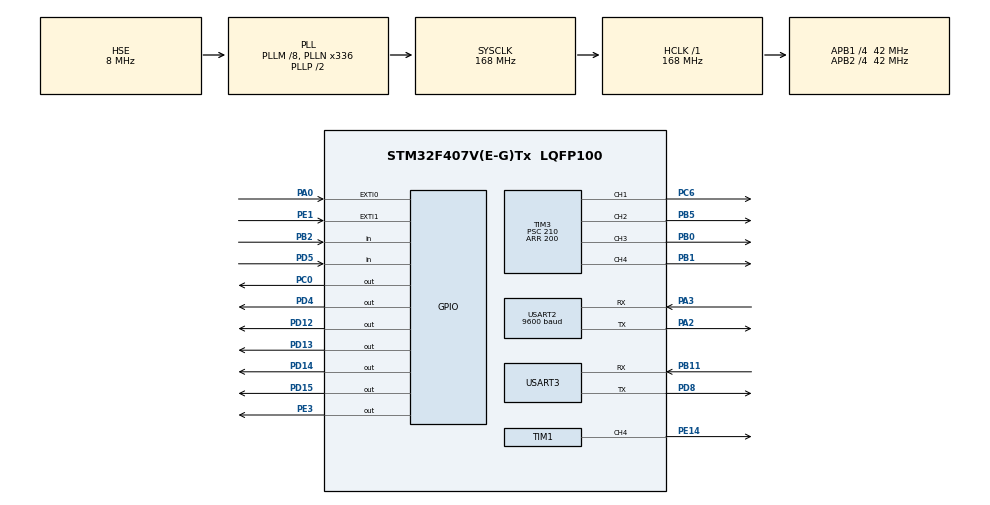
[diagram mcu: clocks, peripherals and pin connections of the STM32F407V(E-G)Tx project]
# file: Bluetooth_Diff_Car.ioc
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Mcu.Family=STM32F4
Mcu.Name=STM32F407V(E-G)Tx
Mcu.Package=LQFP100
NVIC.PriorityGroup=NVIC_PRIORITYGROUP_0
NVIC.USART2_IRQn=true\:0\:0\:false\:true\:true\:1\:true
PA0-WKUP.GPIO_ModeDefaultEXTI=GPIO_MODE_IT_RISING
PA0-WKUP.GPIO_PuPd=GPIO_NOPULL
PA0-WKUP.Signal=GPXTI0
PA10.GPIO_Mode=GPIO_MODE_AF_PP
PA10.GPIO_PuPd=GPIO_NOPULL
PA10.GPIO_Speed=GPIO_SPEED_FREQ_VERY_HIGH
PA10.Signal=USB_OTG_FS_ID
PA11.GPIO_Mode=GPIO_MODE_AF_PP
PA11.GPIO_PuPd=GPIO_NOPULL
PA11.GPIO_Speed=GPIO_SPEED_FREQ_VERY_HIGH
PA11.Signal=USB_OTG_FS_DM
PA12.GPIO_Mode=GPIO_MODE_AF_PP
PA12.GPIO_PuPd=GPIO_NOPULL
PA12.GPIO_Speed=GPIO_SPEED_FREQ_VERY_HIGH
PA12.Signal=USB_OTG_FS_DP
PA13.Mode=Serial_Wire
PA13.Signal=SYS_JTMS-SWDIO
PA14.Mode=Serial_Wire
PA14.Signal=SYS_JTCK-SWCLK
PA2.Mode=Asynchronous
PA2.Signal=USART2_TX
PA3.Mode=Asynchronous
PA3.Signal=USART2_RX
PA4.GPIO_Mode=GPIO_MODE_AF_PP
PA4.GPIO_PuPd=GPIO_NOPULL
PA4.GPIO_Speed=GPIO_SPEED_FREQ_LOW
PA4.Signal=I2S3_WS
PA5.GPIO_Mode=GPIO_MODE_AF_PP
PA5.GPIO_PuPd=GPIO_NOPULL
PA5.GPIO_Speed=GPIO_SPEED_FREQ_VERY_HIGH
PA5.Signal=SPI1_SCK
PA6.GPIO_Mode=GPIO_MODE_AF_PP
PA6.GPIO_PuPd=GPIO_NOPULL
PA6.GPIO_Speed=GPIO_SPEED_FREQ_VERY_HIGH
PA6.Signal=SPI1_MISO
PA7.GPIO_Mode=GPIO_MODE_AF_PP
PA7.GPIO_PuPd=GPIO_NOPULL
PA7.GPIO_Speed=GPIO_SPEED_FREQ_VERY_HIGH
PA7.Signal=SPI1_MOSI
PA9.GPIO_Mode=GPIO_MODE_INPUT
PA9.GPIO_PuPd=GPIO_NOPULL
PA9.Signal=USB_OTG_FS_VBUS
PB0.Signal=S_TIM3_CH3
PB1.Signal=S_TIM3_CH4
PB10.GPIO_Mode=GPIO_MODE_AF_PP
PB10.GPIO_PuPd=GPIO_NOPULL
PB10.GPIO_Speed=GPIO_SPEED_FREQ_LOW
PB10.Signal=I2S2_CK
PB11.GPIO_Mode=GPIO_MODE_AF_PP
PB11.GPIO_PuPd=GPIO_PULLUP
PB11.GPIO_Speed=GPIO_SPEED_FREQ_VERY_HIGH
PB11.Mode=Asynchronous
PB11.Signal=USART3_RX
PB2.GPIO_Mode=GPIO_MODE_INPUT
PB2.GPIO_PuPd=GPIO_NOPULL
PB2.Signal=GPIO_Input
PB3.Signal=SYS_JTDO-SWO
PB5.Signal=S_TIM3_CH2
PB6.GPIO_Mode=GPIO_MODE_AF_OD
PB6.GPIO_PuPd=GPIO_NOPULL
PB6.GPIO_PuPdOD=GPIO_PULLUP
PB6.GPIO_Speed=GPIO_SPEED_FREQ_VERY_HIGH
PB6.Signal=I2C1_SCL
PB9.GPIO_Mode=GPIO_MODE_AF_OD
PB9.GPIO_PuPd=GPIO_NOPULL
PB9.GPIO_PuPdOD=GPIO_PULLUP
PB9.GPIO_Speed=GPIO_SPEED_FREQ_VERY_HIGH
PB9.Signal=I2C1_SDA
PC0.GPIO_ModeDefaultOutputPP=GPIO_MODE_OUTPUT_PP
PC0.GPIO_PuPd=GPIO_NOPULL
PC0.GPIO_Speed=GPIO_SPEED_FREQ_LOW
PC0.PinState=GPIO_PIN_RESET
PC0.Signal=GPIO_Output
PC10.GPIO_Mode=GPIO_MODE_AF_PP
PC10.GPIO_PuPd=GPIO_NOPULL
PC10.GPIO_Speed=GPIO_SPEED_FREQ_LOW
PC10.Signal=I2S3_CK
PC12.GPIO_Mode=GPIO_MODE_AF_PP
PC12.GPIO_PuPd=GPIO_NOPULL
PC12.GPIO_Speed=GPIO_SPEED_FREQ_LOW
PC12.Signal=I2S3_SD
PC14-OSC32_IN.Signal=RCC_OSC32_IN
PC15-OSC32_OUT.Signal=RCC_OSC32_OUT
PC3.GPIO_Mode=GPIO_MODE_AF_PP
PC3.GPIO_PuPd=GPIO_NOPULL
PC3.GPIO_Speed=GPIO_SPEED_FREQ_LOW
PC3.Signal=I2S2_SD
PC6.Signal=S_TIM3_CH1
PC7.GPIO_Mode=GPIO_MODE_AF_PP
PC7.GPIO_PuPd=GPIO_NOPULL
PC7.GPIO_Speed=GPIO_SPEED_FREQ_LOW
PC7.Signal=I2S3_MCK
PD12.GPIO_ModeDefaultOutputPP=GPIO_MODE_OUTPUT_PP
PD12.GPIO_PuPd=GPIO_NOPULL
PD12.GPIO_Speed=GPIO_SPEED_FREQ_LOW
PD12.PinState=GPIO_PIN_RESET
PD12.Signal=GPIO_Output
PD13.GPIO_ModeDefaultOutputPP=GPIO_MODE_OUTPUT_PP
PD13.GPIO_PuPd=GPIO_NOPULL
PD13.GPIO_Speed=GPIO_SPEED_FREQ_LOW
PD13.PinState=GPIO_PIN_RESET
PD13.Signal=GPIO_Output
PD14.GPIO_ModeDefaultOutputPP=GPIO_MODE_OUTPUT_PP
PD14.GPIO_PuPd=GPIO_NOPULL
PD14.GPIO_Speed=GPIO_SPEED_FREQ_LOW
PD14.PinState=GPIO_PIN_RESET
PD14.Signal=GPIO_Output
PD15.GPIO_ModeDefaultOutputPP=GPIO_MODE_OUTPUT_PP
PD15.GPIO_PuPd=GPIO_NOPULL
PD15.GPIO_Speed=GPIO_SPEED_FREQ_LOW
PD15.PinState=GPIO_PIN_RESET
PD15.Signal=GPIO_Output
PD4.GPIO_ModeDefaultOutputPP=GPIO_MODE_OUTPUT_PP
PD4.GPIO_PuPd=GPIO_NOPULL
PD4.GPIO_Speed=GPIO_SPEED_FREQ_LOW
PD4.PinState=GPIO_PIN_RESET
PD4.Signal=GPIO_Output
PD5.GPIO_Mode=GPIO_MODE_INPUT
PD5.GPIO_PuPd=GPIO_NOPULL
PD5.Signal=GPIO_Input
PD8.Mode=Asynchronous
PD8.Signal=USART3_TX
PE1.GPIO_ModeDefaultEXTI=GPIO_MODE_IT_RISING
PE1.GPIO_PuPd=GPIO_NOPULL
PE1.Signal=GPXTI1
PE14.GPIO_ModeDefaultPP=GPIO_MODE_AF_PP
PE14.GPIO_PuPd=GPIO_NOPULL
PE14.GPIO_Speed=GPIO_SPEED_FREQ_LOW
PE14.Signal=S_TIM1_CH4
PE3.GPIO_ModeDefaultOutputPP=GPIO_MODE_OUTPUT_PP
PE3.GPIO_PuPd=GPIO_NOPULL
PE3.GPIO_Speed=GPIO_SPEED_FREQ_LOW
PE3.PinState=GPIO_PIN_RESET
PE3.Signal=GPIO_Output
PH0-OSC_IN.Mode=HSE-External-Oscillator
PH0-OSC_IN.Signal=RCC_OSC_IN
PH1-OSC_OUT.Mode=HSE-External-Oscillator
PH1-OSC_OUT.Signal=RCC_OSC_OUT
ProjectManager.HeapSize=0x200
ProjectManager.StackSize=0x400
ProjectManager.TargetToolchain=MDK-ARM V5
RCC.48MHZClocksFreq_Value=48000000
RCC.AHBFreq_Value=168000000
RCC.APB1CLKDivider=RCC_HCLK_DIV4
RCC.APB1Freq_Value=42000000
RCC.APB1TimFreq_Value=84000000
RCC.APB2CLKDivider=RCC_HCLK_DIV4
RCC.APB2Freq_Value=42000000
RCC.APB2TimFreq_Value=84000000
RCC.CortexFreq_Value=168000000
RCC.HCLKFreq_Value=168000000
RCC.HSE_VALUE=8000000
RCC.HSI_VALUE=16000000
RCC.LSE_VALUE=32768
RCC.PLLM=8
RCC.PLLN=336
RCC.PLLQ=7
RCC.PLLSourceVirtual=RCC_PLLSOURCE_HSE
RCC.SYSCLKFreq_VALUE=168000000
RCC.SYSCLKSource=RCC_SYSCLKSOURCE_PLLCLK
RCC.VCOOutputFreq_Value=336000000
SH.S_TIM1_CH4.0=TIM1_CH4,PWM Generation4 CH4
SH.S_TIM3_CH1.0=TIM3_CH1,PWM Generation1 CH1
SH.S_TIM3_CH2.0=TIM3_CH2,PWM Generation2 CH2
SH.S_TIM3_CH3.0=TIM3_CH3,PWM Generation3 CH3
SH.S_TIM3_CH4.0=TIM3_CH4,PWM Generation4 CH4
TIM1.Channel-PWM\ Generation4\ CH4=TIM_CHANNEL_4
TIM1.Period=2000
TIM1.Prescaler=840
TIM3.Channel-PWM\ Generation1\ CH1=TIM_CHANNEL_1
TIM3.Channel-PWM\ Generation2\ CH2=TIM_CHANNEL_2
TIM3.Channel-PWM\ Generation3\ CH3=TIM_CHANNEL_3
TIM3.Channel-PWM\ Generation4\ CH4=TIM_CHANNEL_4
TIM3.Period=200
TIM3.Prescaler=210
USART2.BaudRate=9600
USART2.VirtualMode=VM_ASYNC
USART3.VirtualMode=VM_ASYNC
VP_TIM1_VS_ClockSourceINT.Mode=Internal
VP_TIM3_VS_ClockSourceINT.Mode=Internal
board=STM32F4DISCOVERY

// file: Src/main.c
/**
  ******************************************************************************
  * @file           : main.c
  * @brief          : Main program body
  ******************************************************************************
  ** This notice applies to any and all portions of this file
  * that are not between comment pairs USER CODE BEGIN and
  * USER CODE END. Other portions of this file, whether
  * inserted by the user or by software development tools
  * are owned by their respective copyright owners.
  *
  * COPYRIGHT(c) 2018 STMicroelectronics
  *
  * Redistribution and use in source and binary forms, with or without modification,
  * are permitted provided that the following conditions are met:
  *   1. Redistributions of source code must retain the above copyright notice,
  *      this list of conditions and the following disclaimer.
  *   2. Redistributions in binary form must reproduce the above copyright notice,
  *      this list of conditions and the following disclaimer in the documentation
  *      and/or other materials provided with the distribution.
  *   3. Neither the name of STMicroelectronics nor the names of its contributors
  *      may be used to endorse or promote products derived from this software
  *      without specific prior written permission.
  *
  * THIS SOFTWARE IS PROVIDED BY THE COPYRIGHT HOLDERS AND CONTRIBUTORS "AS IS"
  * AND ANY EXPRESS OR IMPLIED WARRANTIES, INCLUDING, BUT NOT LIMITED TO, THE
  * IMPLIED WARRANTIES OF MERCHANTABILITY AND FITNESS FOR A PARTICULAR PURPOSE ARE
  * DISCLAIMED. IN NO EVENT SHALL THE COPYRIGHT HOLDER OR CONTRIBUTORS BE LIABLE
  * FOR ANY DIRECT, INDIRECT, INCIDENTAL, SPECIAL, EXEMPLARY, OR CONSEQUENTIAL
  * DAMAGES (INCLUDING, BUT NOT LIMITED TO, PROCUREMENT OF SUBSTITUTE GOODS OR
  * SERVICES; LOSS OF USE, DATA, OR PROFITS; OR BUSINESS INTERRUPTION) HOWEVER
  * CAUSED AND ON ANY THEORY OF LIABILITY, WHETHER IN CONTRACT, STRICT LIABILITY,
  * OR TORT (INCLUDING NEGLIGENCE OR OTHERWISE) ARISING IN ANY WAY OUT OF THE USE
  * OF THIS SOFTWARE, EVEN IF ADVISED OF THE POSSIBILITY OF SUCH DAMAGE.
  *
  ******************************************************************************
  */
#include "main.h"
#include "stm32f4xx_hal.h"

TIM_HandleTypeDef htim1;
TIM_HandleTypeDef htim3;

UART_HandleTypeDef huart2;
UART_HandleTypeDef huart3;

/* USER CODE BEGIN PV */
/* Private variables ---------------------------------------------------------*/
unsigned int i=0;
uint16_t duty=55,fade=4; //255,145,55

	int pwm=0;
	char buffer[100];
	int len;

	char Rx_indx, Rx_data[2], Rx_Buffer[100], Transfer_cplt;
	int Max_Speed=180;
	int Max_Speed_RL=180;

	int digit;

/* USER CODE END PV */

void SystemClock_Config(void);
static void MX_GPIO_Init(void);
static void MX_TIM1_Init(void);
static void MX_TIM3_Init(void);
static void MX_USART2_UART_Init(void);
static void MX_USART3_UART_Init(void);
static void MX_NVIC_Init(void);
void HAL_TIM_MspPostInit(TIM_HandleTypeDef *htim);

/* USER CODE BEGIN PFP */
/* Private function prototypes -----------------------------------------------*/

//Interrupt callback routine
void HAL_UART_RxCpltCallback(UART_HandleTypeDef *huart)
{
    uint8_t i;
    if (huart->Instance == USART2)  //current UART
        {
        if (Rx_indx==0) {for (i=0;i<100;i++) Rx_Buffer[i]=0;}   //clear Rx_Buffer before receiving new data

        if (Rx_data[0]!=13) //if received data different from ascii 13 (enter)
            {
            Rx_Buffer[Rx_indx++]=Rx_data[0];    //add data to Rx_Buffer
            }
        else            //if received data = 13
            {
            Rx_indx=0;
            Transfer_cplt=1;//transfer complete, data is ready to read
            }

        HAL_UART_Receive_IT(&huart2, Rx_data, 1);   //activate UART receive interrupt every time
        }
}

#ifdef __GNUC__
 /* With GCC/RAISONANCE, small printf (option LD Linker->Libraries->Small printf
     set to 'Yes') calls __io_putchar() */
  #define PUTCHAR_PROTOTYPE int __io_putchar(int ch)
#else
  #define PUTCHAR_PROTOTYPE int fputc(int ch, FILE *f)
#endif /* __GNUC__ */

/**
  * @brief  Retargets the C library printf function to the USART.
  * @param  None
  * @retval None
  */
PUTCHAR_PROTOTYPE
{
    /* Place your implementation of fputc here */
    /* e.g. write a character to the USART */
    HAL_UART_Transmit(&huart2, (uint8_t *)&ch, 1, 100);

    return ch;
}

/* USER CODE END PFP */

int main(void)
{

  /* MCU Configuration----------------------------------------------------------*/

  /* Reset of all peripherals, Initializes the Flash interface and the Systick. */
  HAL_Init();

  /* Configure the system clock */
  SystemClock_Config();

  /* Initialize all configured peripherals */
  MX_GPIO_Init();
  MX_TIM1_Init();
  MX_TIM3_Init();
  MX_USART2_UART_Init();
  MX_USART3_UART_Init();

  /* Initialize interrupts */
  MX_NVIC_Init();
  /* USER CODE BEGIN 2 */
	HAL_TIM_PWM_Start(&htim1,TIM_CHANNEL_4);

	HAL_TIM_PWM_Start(&htim3,TIM_CHANNEL_1);
	HAL_TIM_PWM_Start(&htim3,TIM_CHANNEL_2);
	HAL_TIM_PWM_Start(&htim3,TIM_CHANNEL_3);
	HAL_TIM_PWM_Start(&htim3,TIM_CHANNEL_4);

	HAL_UART_Receive_IT(&huart2, Rx_data, 1);

  /* USER CODE END 2 */

  /* Infinite loop */
  while (1)
  {

  /* USER CODE BEGIN 3 */
		//HAL_GPIO_TogglePin(LD6_GPIO_Port,LD6_Pin);
			HAL_Delay(60);

			if(Transfer_cplt){
			buffer[0]='O';
			buffer[1]='K';
			HAL_UART_Transmit(&huart2,buffer,2,1000);

			//GRIPPER 0 Derece
			if(Rx_Buffer[0]=='G' && Rx_Buffer[1]=='R' && Rx_Buffer[2]=='P' && Rx_Buffer[3]=='0')
			{
				duty=145;
				__HAL_TIM_SET_COMPARE(&htim1,TIM_CHANNEL_4,duty);
			}

			//GRIPPER +90 Derece
			if(Rx_Buffer[0]=='G' && Rx_Buffer[1]=='R' && Rx_Buffer[2]=='P' && Rx_Buffer[3]=='+' && Rx_Buffer[4]=='9' && Rx_Buffer[5]=='0')
			{
				duty=255;
				__HAL_TIM_SET_COMPARE(&htim1,TIM_CHANNEL_4,duty);
			}

			//GRIPPER -90 Derece
			if(Rx_Buffer[0]=='G' && Rx_Buffer[1]=='R' && Rx_Buffer[2]=='P' && Rx_Buffer[3]=='-' && Rx_Buffer[4]=='9' && Rx_Buffer[5]=='0')
			{
				duty=55;
				__HAL_TIM_SET_COMPARE(&htim1,TIM_CHANNEL_4,duty);
			}

			//GRIPPER Her Derece
			if(Rx_Buffer[0]=='G' && Rx_Buffer[1]=='R' && Rx_Buffer[2]=='P' && Rx_Buffer[3]=='A' && Rx_Buffer[4]=='N' && Rx_Buffer[5]=='Y')
			{
				duty=0;
				if (Rx_Buffer[6] >= '0' && Rx_Buffer[6] <= '9'){
					digit = Rx_Buffer[6] - '0';
					duty=duty+(digit*100);
				}
				if (Rx_Buffer[7] >= '0' && Rx_Buffer[7] <= '9'){
					digit = Rx_Buffer[7] - '0';
					duty=duty+(digit*10);
				}
				if (Rx_Buffer[8] >= '0' && Rx_Buffer[8] <= '9'){
					digit = Rx_Buffer[8] - '0';
					duty=duty+(digit*1);
				}
				__HAL_TIM_SET_COMPARE(&htim1,TIM_CHANNEL_4,duty);
			}

			//LEFT
			if(Rx_Buffer[0]=='L' && Rx_Buffer[1]=='E' && Rx_Buffer[2]=='F' && Rx_Buffer[3]=='T')
			{
				for(pwm=0;pwm<Max_Speed;pwm++){
					__HAL_TIM_SET_COMPARE(&htim3,TIM_CHANNEL_1,0);
					__HAL_TIM_SET_COMPARE(&htim3,TIM_CHANNEL_2,pwm);
					HAL_Delay(1);
				}
			}

			//RIGHT
			if(Rx_Buffer[0]=='R' && Rx_Buffer[1]=='I' && Rx_Buffer[2]=='G' && Rx_Buffer[3]=='H' && Rx_Buffer[4]=='T')
			{
				for(pwm=0;pwm<Max_Speed;pwm++){
					__HAL_TIM_SET_COMPARE(&htim3,TIM_CHANNEL_3,0);
					__HAL_TIM_SET_COMPARE(&htim3,TIM_CHANNEL_4,pwm);
					HAL_Delay(1);
				}
			}

			//FORWARD
			if(Rx_Buffer[0]=='F' && Rx_Buffer[1]=='R' && Rx_Buffer[2]=='W')
			{
				for(pwm=0;pwm<Max_Speed;pwm++){
					__HAL_TIM_SET_COMPARE(&htim3,TIM_CHANNEL_1,0);
					__HAL_TIM_SET_COMPARE(&htim3,TIM_CHANNEL_2,pwm);
					__HAL_TIM_SET_COMPARE(&htim3,TIM_CHANNEL_3,0);
					__HAL_TIM_SET_COMPARE(&htim3,TIM_CHANNEL_4,pwm);
					HAL_Delay(1);
				}
			}

			//BACK
			if(Rx_Buffer[0]=='B' && Rx_Buffer[1]=='A' && Rx_Buffer[2]=='C' && Rx_Buffer[3]=='K')
			{
				for(pwm=0;pwm<Max_Speed;pwm++){
					__HAL_TIM_SET_COMPARE(&htim3,TIM_CHANNEL_1,pwm);
					__HAL_TIM_SET_COMPARE(&htim3,TIM_CHANNEL_2,0);
					__HAL_TIM_SET_COMPARE(&htim3,TIM_CHANNEL_3,pwm);
					__HAL_TIM_SET_COMPARE(&htim3,TIM_CHANNEL_4,0);
					HAL_Delay(1);
				}
			}

			//RETURN LEFT
			if(Rx_Buffer[0]=='R' && Rx_Buffer[1]=='T' && Rx_Buffer[2]=='L')
			{
				for(pwm=0;pwm<Max_Speed_RL;pwm++){
					__HAL_TIM_SET_COMPARE(&htim3,TIM_CHANNEL_1,0);
					__HAL_TIM_SET_COMPARE(&htim3,TIM_CHANNEL_2,pwm);
					__HAL_TIM_SET_COMPARE(&htim3,TIM_CHANNEL_3,pwm);
					__HAL_TIM_SET_COMPARE(&htim3,TIM_CHANNEL_4,0);
					HAL_Delay(1);
				}
			}

			//RETURN RIGHT
			if(Rx_Buffer[0]=='R' && Rx_Buffer[1]=='T' && Rx_Buffer[2]=='R')
			{
				for(pwm=0;pwm<Max_Speed_RL;pwm++){
					__HAL_TIM_SET_COMPARE(&htim3,TIM_CHANNEL_1,pwm);
					__HAL_TIM_SET_COMPARE(&htim3,TIM_CHANNEL_2,0);
					__HAL_TIM_SET_COMPARE(&htim3,TIM_CHANNEL_3,0);
					__HAL_TIM_SET_COMPARE(&htim3,TIM_CHANNEL_4,pwm);
					HAL_Delay(1);
				}
			}

			//STOP
			if(Rx_Buffer[0]=='S' && Rx_Buffer[1]=='T' && Rx_Buffer[2]=='O' && Rx_Buffer[3]=='P')
			{
					__HAL_TIM_SET_COMPARE(&htim3,TIM_CHANNEL_1,0);
					__HAL_TIM_SET_COMPARE(&htim3,TIM_CHANNEL_2,0);
					__HAL_TIM_SET_COMPARE(&htim3,TIM_CHANNEL_3,0);
					__HAL_TIM_SET_COMPARE(&htim3,TIM_CHANNEL_4,0);
			}
			Transfer_cplt=0;
		}

  }
  /* USER CODE END 3 */

}

void SystemClock_Config(void)
{

  RCC_OscInitTypeDef RCC_OscInitStruct;
  RCC_ClkInitTypeDef RCC_ClkInitStruct;

    /**Configure the main internal regulator output voltage
    */
  __HAL_RCC_PWR_CLK_ENABLE();

  __HAL_PWR_VOLTAGESCALING_CONFIG(PWR_REGULATOR_VOLTAGE_SCALE1);

    /**Initializes the CPU, AHB and APB busses clocks
    */
  RCC_OscInitStruct.OscillatorType = RCC_OSCILLATORTYPE_HSE;
  RCC_OscInitStruct.HSEState = RCC_HSE_ON;
  RCC_OscInitStruct.PLL.PLLState = RCC_PLL_ON;
  RCC_OscInitStruct.PLL.PLLSource = RCC_PLLSOURCE_HSE;
  RCC_OscInitStruct.PLL.PLLM = 8;
  RCC_OscInitStruct.PLL.PLLN = 336;
  RCC_OscInitStruct.PLL.PLLP = RCC_PLLP_DIV2;
  RCC_OscInitStruct.PLL.PLLQ = 7;
  if (HAL_RCC_OscConfig(&RCC_OscInitStruct) != HAL_OK)
  {
    _Error_Handler(__FILE__, __LINE__);
  }

    /**Initializes the CPU, AHB and APB busses clocks
    */
  RCC_ClkInitStruct.ClockType = RCC_CLOCKTYPE_HCLK|RCC_CLOCKTYPE_SYSCLK
                              |RCC_CLOCKTYPE_PCLK1|RCC_CLOCKTYPE_PCLK2;
  RCC_ClkInitStruct.SYSCLKSource = RCC_SYSCLKSOURCE_PLLCLK;
  RCC_ClkInitStruct.AHBCLKDivider = RCC_SYSCLK_DIV1;
  RCC_ClkInitStruct.APB1CLKDivider = RCC_HCLK_DIV4;
  RCC_ClkInitStruct.APB2CLKDivider = RCC_HCLK_DIV4;

  if (HAL_RCC_ClockConfig(&RCC_ClkInitStruct, FLASH_LATENCY_5) != HAL_OK)
  {
    _Error_Handler(__FILE__, __LINE__);
  }

    /**Configure the Systick interrupt time
    */
  HAL_SYSTICK_Config(HAL_RCC_GetHCLKFreq()/1000);

    /**Configure the Systick
    */
  HAL_SYSTICK_CLKSourceConfig(SYSTICK_CLKSOURCE_HCLK);

  /* SysTick_IRQn interrupt configuration */
  HAL_NVIC_SetPriority(SysTick_IRQn, 0, 0);
}

/**
  * @brief NVIC Configuration.
  * @retval None
  */
static void MX_NVIC_Init(void)
{
  /* USART2_IRQn interrupt configuration */
  HAL_NVIC_SetPriority(USART2_IRQn, 0, 0);
  HAL_NVIC_EnableIRQ(USART2_IRQn);
}

/* TIM1 init function */
static void MX_TIM1_Init(void)
{

  TIM_ClockConfigTypeDef sClockSourceConfig;
  TIM_MasterConfigTypeDef sMasterConfig;
  TIM_OC_InitTypeDef sConfigOC;
  TIM_BreakDeadTimeConfigTypeDef sBreakDeadTimeConfig;

  htim1.Instance = TIM1;
  htim1.Init.Prescaler = 840;
  htim1.Init.CounterMode = TIM_COUNTERMODE_UP;
  htim1.Init.Period = 2000;
  htim1.Init.ClockDivision = TIM_CLOCKDIVISION_DIV1;
  htim1.Init.RepetitionCounter = 0;
  if (HAL_TIM_Base_Init(&htim1) != HAL_OK)
  {
    _Error_Handler(__FILE__, __LINE__);
  }

  sClockSourceConfig.ClockSource = TIM_CLOCKSOURCE_INTERNAL;
  if (HAL_TIM_ConfigClockSource(&htim1, &sClockSourceConfig) != HAL_OK)
  {
    _Error_Handler(__FILE__, __LINE__);
  }

  if (HAL_TIM_PWM_Init(&htim1) != HAL_OK)
  {
    _Error_Handler(__FILE__, __LINE__);
  }

  sMasterConfig.MasterOutputTrigger = TIM_TRGO_RESET;
  sMasterConfig.MasterSlaveMode = TIM_MASTERSLAVEMODE_DISABLE;
  if (HAL_TIMEx_MasterConfigSynchronization(&htim1, &sMasterConfig) != HAL_OK)
  {
    _Error_Handler(__FILE__, __LINE__);
  }

  sConfigOC.OCMode = TIM_OCMODE_PWM1;
  sConfigOC.Pulse = 0;
  sConfigOC.OCPolarity = TIM_OCPOLARITY_HIGH;
  sConfigOC.OCFastMode = TIM_OCFAST_DISABLE;
  sConfigOC.OCIdleState = TIM_OCIDLESTATE_RESET;
  sConfigOC.OCNIdleState = TIM_OCNIDLESTATE_RESET;
  if (HAL_TIM_PWM_ConfigChannel(&htim1, &sConfigOC, TIM_CHANNEL_4) != HAL_OK)
  {
    _Error_Handler(__FILE__, __LINE__);
  }

  sBreakDeadTimeConfig.OffStateRunMode = TIM_OSSR_DISABLE;
  sBreakDeadTimeConfig.OffStateIDLEMode = TIM_OSSI_DISABLE;
  sBreakDeadTimeConfig.LockLevel = TIM_LOCKLEVEL_OFF;
  sBreakDeadTimeConfig.DeadTime = 0;
  sBreakDeadTimeConfig.BreakState = TIM_BREAK_DISABLE;
  sBreakDeadTimeConfig.BreakPolarity = TIM_BREAKPOLARITY_HIGH;
  sBreakDeadTimeConfig.AutomaticOutput = TIM_AUTOMATICOUTPUT_DISABLE;
  if (HAL_TIMEx_ConfigBreakDeadTime(&htim1, &sBreakDeadTimeConfig) != HAL_OK)
  {
    _Error_Handler(__FILE__, __LINE__);
  }

  HAL_TIM_MspPostInit(&htim1);

}

/* TIM3 init function */
static void MX_TIM3_Init(void)
{

  TIM_ClockConfigTypeDef sClockSourceConfig;
  TIM_MasterConfigTypeDef sMasterConfig;
  TIM_OC_InitTypeDef sConfigOC;

  htim3.Instance = TIM3;
  htim3.Init.Prescaler = 210;
  htim3.Init.CounterMode = TIM_COUNTERMODE_UP;
  htim3.Init.Period = 200;
  htim3.Init.ClockDivision = TIM_CLOCKDIVISION_DIV1;
  if (HAL_TIM_Base_Init(&htim3) != HAL_OK)
  {
    _Error_Handler(__FILE__, __LINE__);
  }

  sClockSourceConfig.ClockSource = TIM_CLOCKSOURCE_INTERNAL;
  if (HAL_TIM_ConfigClockSource(&htim3, &sClockSourceConfig) != HAL_OK)
  {
    _Error_Handler(__FILE__, __LINE__);
  }

  if (HAL_TIM_PWM_Init(&htim3) != HAL_OK)
  {
    _Error_Handler(__FILE__, __LINE__);
  }

  sMasterConfig.MasterOutputTrigger = TIM_TRGO_RESET;
  sMasterConfig.MasterSlaveMode = TIM_MASTERSLAVEMODE_DISABLE;
  if (HAL_TIMEx_MasterConfigSynchronization(&htim3, &sMasterConfig) != HAL_OK)
  {
    _Error_Handler(__FILE__, __LINE__);
  }

  sConfigOC.OCMode = TIM_OCMODE_PWM1;
  sConfigOC.Pulse = 0;
  sConfigOC.OCPolarity = TIM_OCPOLARITY_HIGH;
  sConfigOC.OCFastMode = TIM_OCFAST_DISABLE;
  if (HAL_TIM_PWM_ConfigChannel(&htim3, &sConfigOC, TIM_CHANNEL_1) != HAL_OK)
  {
    _Error_Handler(__FILE__, __LINE__);
  }

  if (HAL_TIM_PWM_ConfigChannel(&htim3, &sConfigOC, TIM_CHANNEL_2) != HAL_OK)
  {
    _Error_Handler(__FILE__, __LINE__);
  }

  if (HAL_TIM_PWM_ConfigChannel(&htim3, &sConfigOC, TIM_CHANNEL_3) != HAL_OK)
  {
    _Error_Handler(__FILE__, __LINE__);
  }

  if (HAL_TIM_PWM_ConfigChannel(&htim3, &sConfigOC, TIM_CHANNEL_4) != HAL_OK)
  {
    _Error_Handler(__FILE__, __LINE__);
  }

  HAL_TIM_MspPostInit(&htim3);

}

/* USART2 init function */
static void MX_USART2_UART_Init(void)
{

  huart2.Instance = USART2;
  huart2.Init.BaudRate = 9600;
  huart2.Init.WordLength = UART_WORDLENGTH_8B;
  huart2.Init.StopBits = UART_STOPBITS_1;
  huart2.Init.Parity = UART_PARITY_NONE;
  huart2.Init.Mode = UART_MODE_TX_RX;
  huart2.Init.HwFlowCtl = UART_HWCONTROL_NONE;
  huart2.Init.OverSampling = UART_OVERSAMPLING_16;
  if (HAL_UART_Init(&huart2) != HAL_OK)
  {
    _Error_Handler(__FILE__, __LINE__);
  }

}

/* USART3 init function */
static void MX_USART3_UART_Init(void)
{

  huart3.Instance = USART3;
  huart3.Init.BaudRate = 115200;
  huart3.Init.WordLength = UART_WORDLENGTH_8B;
  huart3.Init.StopBits = UART_STOPBITS_1;
  huart3.Init.Parity = UART_PARITY_NONE;
  huart3.Init.Mode = UART_MODE_TX_RX;
  huart3.Init.HwFlowCtl = UART_HWCONTROL_NONE;
  huart3.Init.OverSampling = UART_OVERSAMPLING_16;
  if (HAL_UART_Init(&huart3) != HAL_OK)
  {
    _Error_Handler(__FILE__, __LINE__);
  }

}

/** Configure pins as
        * Analog
        * Input
        * Output
        * EVENT_OUT
        * EXTI
     PC3   ------> I2S2_SD
     PA4   ------> I2S3_WS
     PA5   ------> SPI1_SCK
     PA6   ------> SPI1_MISO
     PA7   ------> SPI1_MOSI
     PB10   ------> I2S2_CK
     PC7   ------> I2S3_MCK
     PA9   ------> USB_OTG_FS_VBUS
     PA10   ------> USB_OTG_FS_ID
     PA11   ------> USB_OTG_FS_DM
     PA12   ------> USB_OTG_FS_DP
     PC10   ------> I2S3_CK
     PC12   ------> I2S3_SD
     PB6   ------> I2C1_SCL
     PB9   ------> I2C1_SDA
*/
static void MX_GPIO_Init(void)
{

  GPIO_InitTypeDef GPIO_InitStruct;

  /* GPIO Ports Clock Enable */
  __HAL_RCC_GPIOE_CLK_ENABLE();
  __HAL_RCC_GPIOC_CLK_ENABLE();
  __HAL_RCC_GPIOH_CLK_ENABLE();
  __HAL_RCC_GPIOA_CLK_ENABLE();
  __HAL_RCC_GPIOB_CLK_ENABLE();
  __HAL_RCC_GPIOD_CLK_ENABLE();

  /*Configure GPIO pin Output Level */
  HAL_GPIO_WritePin(GPIOE, GPIO_PIN_3, GPIO_PIN_RESET);

  /*Configure GPIO pin Output Level */
  HAL_GPIO_WritePin(GPIOC, GPIO_PIN_0, GPIO_PIN_RESET);

  /*Configure GPIO pin Output Level */
  HAL_GPIO_WritePin(GPIOD, GPIO_PIN_12|GPIO_PIN_13|GPIO_PIN_14|GPIO_PIN_15
                          |GPIO_PIN_4, GPIO_PIN_RESET);

  /*Configure GPIO pin : PE3 */
  GPIO_InitStruct.Pin = GPIO_PIN_3;
  GPIO_InitStruct.Mode = GPIO_MODE_OUTPUT_PP;
  GPIO_InitStruct.Pull = GPIO_NOPULL;
  GPIO_InitStruct.Speed = GPIO_SPEED_FREQ_LOW;
  HAL_GPIO_Init(GPIOE, &GPIO_InitStruct);

  /*Configure GPIO pin : PC0 */
  GPIO_InitStruct.Pin = GPIO_PIN_0;
  GPIO_InitStruct.Mode = GPIO_MODE_OUTPUT_PP;
  GPIO_InitStruct.Pull = GPIO_NOPULL;
  GPIO_InitStruct.Speed = GPIO_SPEED_FREQ_LOW;
  HAL_GPIO_Init(GPIOC, &GPIO_InitStruct);

  /*Configure GPIO pin : PC3 */
  GPIO_InitStruct.Pin = GPIO_PIN_3;
  GPIO_InitStruct.Mode = GPIO_MODE_AF_PP;
  GPIO_InitStruct.Pull = GPIO_NOPULL;
  GPIO_InitStruct.Speed = GPIO_SPEED_FREQ_LOW;
  GPIO_InitStruct.Alternate = GPIO_AF5_SPI2;
  HAL_GPIO_Init(GPIOC, &GPIO_InitStruct);

  /*Configure GPIO pin : PA0 */
  GPIO_InitStruct.Pin = GPIO_PIN_0;
  GPIO_InitStruct.Mode = GPIO_MODE_IT_RISING;
  GPIO_InitStruct.Pull = GPIO_NOPULL;
  HAL_GPIO_Init(GPIOA, &GPIO_InitStruct);

  /*Configure GPIO pin : PA4 */
  GPIO_InitStruct.Pin = GPIO_PIN_4;
  GPIO_InitStruct.Mode = GPIO_MODE_AF_PP;
  GPIO_InitStruct.Pull = GPIO_NOPULL;
  GPIO_InitStruct.Speed = GPIO_SPEED_FREQ_LOW;
  GPIO_InitStruct.Alternate = GPIO_AF6_SPI3;
  HAL_GPIO_Init(GPIOA, &GPIO_InitStruct);

  /*Configure GPIO pins : PA5 PA6 PA7 */
  GPIO_InitStruct.Pin = GPIO_PIN_5|GPIO_PIN_6|GPIO_PIN_7;
  GPIO_InitStruct.Mode = GPIO_MODE_AF_PP;
  GPIO_InitStruct.Pull = GPIO_NOPULL;
  GPIO_InitStruct.Speed = GPIO_SPEED_FREQ_VERY_HIGH;
  GPIO_InitStruct.Alternate = GPIO_AF5_SPI1;
  HAL_GPIO_Init(GPIOA, &GPIO_InitStruct);

  /*Configure GPIO pin : PB2 */
  GPIO_InitStruct.Pin = GPIO_PIN_2;
  GPIO_InitStruct.Mode = GPIO_MODE_INPUT;
  GPIO_InitStruct.Pull = GPIO_NOPULL;
  HAL_GPIO_Init(GPIOB, &GPIO_InitStruct);

  /*Configure GPIO pin : PB10 */
  GPIO_InitStruct.Pin = GPIO_PIN_10;
  GPIO_InitStruct.Mode = GPIO_MODE_AF_PP;
  GPIO_InitStruct.Pull = GPIO_NOPULL;
  GPIO_InitStruct.Speed = GPIO_SPEED_FREQ_LOW;
  GPIO_InitStruct.Alternate = GPIO_AF5_SPI2;
  HAL_GPIO_Init(GPIOB, &GPIO_InitStruct);

  /*Configure GPIO pins : PD12 PD13 PD14 PD15
                           PD4 */
  GPIO_InitStruct.Pin = GPIO_PIN_12|GPIO_PIN_13|GPIO_PIN_14|GPIO_PIN_15
                          |GPIO_PIN_4;
  GPIO_InitStruct.Mode = GPIO_MODE_OUTPUT_PP;
  GPIO_InitStruct.Pull = GPIO_NOPULL;
  GPIO_InitStruct.Speed = GPIO_SPEED_FREQ_LOW;
  HAL_GPIO_Init(GPIOD, &GPIO_InitStruct);

  /*Configure GPIO pins : PC7 PC10 PC12 */
  GPIO_InitStruct.Pin = GPIO_PIN_7|GPIO_PIN_10|GPIO_PIN_12;
  GPIO_InitStruct.Mode = GPIO_MODE_AF_PP;
  GPIO_InitStruct.Pull = GPIO_NOPULL;
  GPIO_InitStruct.Speed = GPIO_SPEED_FREQ_LOW;
  GPIO_InitStruct.Alternate = GPIO_AF6_SPI3;
  HAL_GPIO_Init(GPIOC, &GPIO_InitStruct);

  /*Configure GPIO pin : PA9 */
  GPIO_InitStruct.Pin = GPIO_PIN_9;
  GPIO_InitStruct.Mode = GPIO_MODE_INPUT;
  GPIO_InitStruct.Pull = GPIO_NOPULL;
  HAL_GPIO_Init(GPIOA, &GPIO_InitStruct);

  /*Configure GPIO pins : PA10 PA11 PA12 */
  GPIO_InitStruct.Pin = GPIO_PIN_10|GPIO_PIN_11|GPIO_PIN_12;
  GPIO_InitStruct.Mode = GPIO_MODE_AF_PP;
  GPIO_InitStruct.Pull = GPIO_NOPULL;
  GPIO_InitStruct.Speed = GPIO_SPEED_FREQ_VERY_HIGH;
  GPIO_InitStruct.Alternate = GPIO_AF10_OTG_FS;
  HAL_GPIO_Init(GPIOA, &GPIO_InitStruct);

  /*Configure GPIO pin : PD5 */
  GPIO_InitStruct.Pin = GPIO_PIN_5;
  GPIO_InitStruct.Mode = GPIO_MODE_INPUT;
  GPIO_InitStruct.Pull = GPIO_NOPULL;
  HAL_GPIO_Init(GPIOD, &GPIO_InitStruct);

  /*Configure GPIO pins : PB6 PB9 */
  GPIO_InitStruct.Pin = GPIO_PIN_6|GPIO_PIN_9;
  GPIO_InitStruct.Mode = GPIO_MODE_AF_OD;
  GPIO_InitStruct.Pull = GPIO_PULLUP;
  GPIO_InitStruct.Speed = GPIO_SPEED_FREQ_VERY_HIGH;
  GPIO_InitStruct.Alternate = GPIO_AF4_I2C1;
  HAL_GPIO_Init(GPIOB, &GPIO_InitStruct);

  /*Configure GPIO pin : PE1 */
  GPIO_InitStruct.Pin = GPIO_PIN_1;
  GPIO_InitStruct.Mode = GPIO_MODE_IT_RISING;
  GPIO_InitStruct.Pull = GPIO_NOPULL;
  HAL_GPIO_Init(GPIOE, &GPIO_InitStruct);

}

void _Error_Handler(char *file, int line)
{
  while(1)
  {
  }
}

/************************ (C) COPYRIGHT STMicroelectronics *****END OF FILE****/
